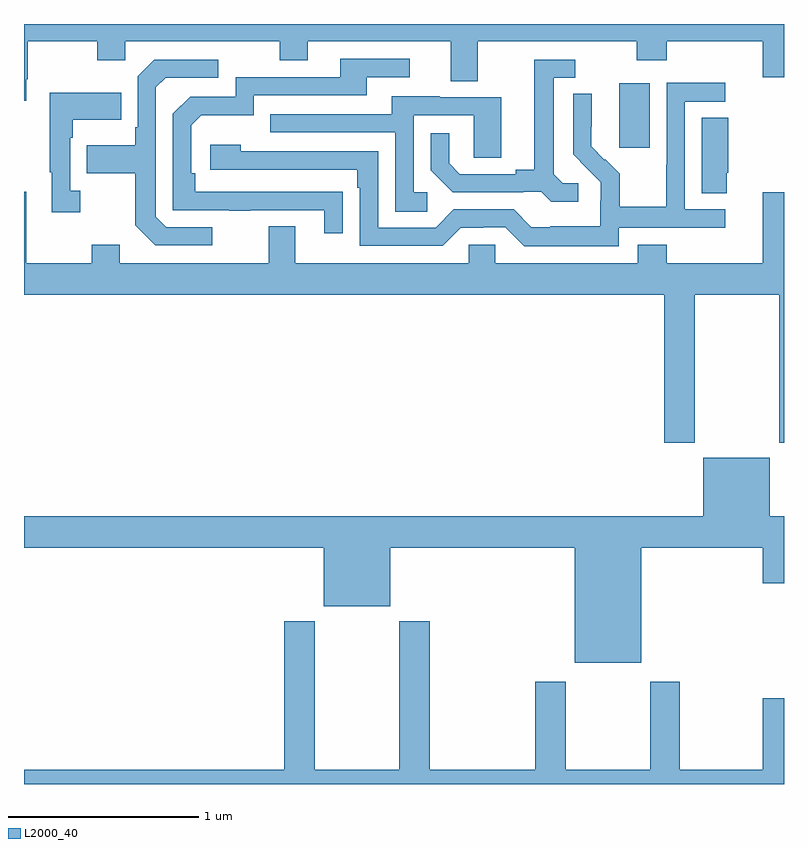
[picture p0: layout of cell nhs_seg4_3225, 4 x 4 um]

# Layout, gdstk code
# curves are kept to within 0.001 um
import gdstk
lib = gdstk.Library(unit=1e-6, precision=1e-09)
def R(c, l, rs):  # rectangles x0, y0, x1, y1
    for r in rs: c.add(gdstk.rectangle(r[:2], r[2:], *l))
def P(c, l, *ps):  # polygons
    for p in ps: c.add(gdstk.Polygon(p, *l))
L2000_40 = (2000, 40)

nhs_seg4_3225 = lib.new_cell('nhs_seg4_3225')
R(nhs_seg4_3225, L2000_40, [(284.132,808.248,284.293,808.588)])
P(nhs_seg4_3225, L2000_40, [(281.011,808.609),(281.019,808.609),(281.019,808.808),(281.386,808.808),(281.386,808.709),(281.532,808.709),(281.532,808.808),(282.346,808.808),(282.346,808.709),(282.493,808.709),(282.493,808.808),(283.247,808.808),(283.247,808.6),(283.387,808.6),(283.387,808.808),(284.224,808.808),(284.224,808.709),(284.384,808.709),(284.384,808.808),(284.888,808.808),(284.888,808.62),(285,808.62),(285,808.9),(281,808.9),(281,808.497),(281.011,808.497)],
  [(282.677,808.016),(281.9,808.017),(281.9,808.114),(281.88,808.114),(281.88,808.368),(281.933,808.421),(282.21,808.421),(282.21,808.524),(282.805,808.524),(282.805,808.62),(283.03,808.62),(283.03,808.716),(282.665,808.716),(282.665,808.62),(282.114,808.62),(282.114,808.518),(281.874,808.518),(281.784,808.428),(281.784,807.921),(282.079,807.921),(282.079,807.916),(282.191,807.916),(282.191,807.921),(282.581,807.921),(282.581,807.798),(282.677,807.798)],
  [(281.992,807.831),(281.748,807.831),(281.694,807.885),(281.694,808.566),(281.745,808.617),(282.022,808.617),(282.022,808.713),(281.685,808.713),(281.598,808.626),(281.598,808.357),(281.586,808.357),(281.586,808.261),(281.329,808.261),(281.329,808.114),(281.586,808.114),(281.586,807.841),(281.691,807.735),(281.992,807.735)],
  [(283.918,808.062),(283.836,808.062),(283.789,808.109),(283.789,808.617),(283.9,808.617),(283.9,808.713),(283.685,808.713),(283.685,808.133),(283.589,808.133),(283.589,808.11),(283.294,808.11),(283.237,808.167),(283.237,808.324),(283.14,808.324),(283.14,808.13),(283.256,808.014),(283.628,808.014),(283.628,808.017),(283.722,808.017),(283.774,807.965),(283.918,807.965)],
  [(284.13,807.828),(284.692,807.828),(284.692,807.924),(284.478,807.924),(284.478,808.491),(284.692,808.491),(284.692,808.59),(284.382,808.59),(284.382,808.16),(284.38,808.16),(284.38,807.937),(284.135,807.937),(284.135,808.111),(284.058,808.188),(284.055,808.185),(283.985,808.256),(283.985,808.36),(283.987,808.36),(283.987,808.532),(283.89,808.532),(283.89,808.214),(284.036,808.066),(284.036,807.969),(284.034,807.969),(284.034,807.835),(283.771,807.835),(283.771,807.831),(283.671,807.831),(283.578,807.924),(283.263,807.924),(283.167,807.828),(282.864,807.828),(282.864,808.23),(282.14,808.23),(282.14,808.264),(281.979,808.264),(281.979,808.134),(282.755,808.134),(282.755,808.037),(282.768,808.037),(282.768,807.732),(283.203,807.732),(283.299,807.828),(283.418,807.828),(283.418,807.831),(283.533,807.831),(283.633,807.731),(284.13,807.731)],
  [(281.296,808.022),(281.244,808.022),(281.244,808.301),(281.257,808.301),(281.257,808.397),(281.513,808.397),(281.513,808.537),(281.136,808.537),(281.136,808.121),(281.147,808.121),(281.147,807.909),(281.296,807.909)],
  [(283.123,808.014),(283.05,808.014),(283.05,808.419),(283.368,808.419),(283.368,808.195),(283.513,808.195),(283.513,808.515),(283.189,808.515),(283.189,808.519),(282.935,808.519),(282.935,808.425),(282.295,808.425),(282.295,808.329),(282.954,808.329),(282.954,807.913),(283.123,807.913)],
  [(284.698,808.117),(284.706,808.117),(284.706,808.406),(284.567,808.406),(284.567,808.009),(284.698,808.009)],
  [(284.529,807.476),(284.974,807.476),(284.974,806.697),(285,806.697),(285,808.015),(284.888,808.015),(284.888,807.64),(284.384,807.64),(284.384,807.739),(284.231,807.739),(284.231,807.64),(283.479,807.64),(283.479,807.738),(283.341,807.738),(283.341,807.64),(282.427,807.64),(282.427,807.835),(282.287,807.835),(282.287,807.64),(281.503,807.64),(281.503,807.739),(281.356,807.739),(281.356,807.64),(281.011,807.64),(281.011,808.018),(281,808.018),(281,807.476),(284.369,807.476),(284.369,806.697),(284.529,806.697)],
  [(284.248,806.144),(284.888,806.144),(284.888,805.956),(285,805.956),(285,806.308),(284.926,806.308),(284.926,806.617),(284.576,806.617),(284.576,806.308),(281,806.308),(281,806.144),(282.578,806.144),(282.578,805.835),(282.928,805.835),(282.928,806.144),(283.898,806.144),(283.898,805.538),(284.248,805.538)],
  [(285,805.351),(284.888,805.351),(284.888,804.976),(284.451,804.976),(284.451,805.438),(284.296,805.438),(284.296,804.976),(283.851,804.976),(283.851,805.438),(283.691,805.438),(283.691,804.976),(283.136,804.976),(283.136,805.756),(282.976,805.756),(282.976,804.976),(282.531,804.976),(282.531,805.756),(282.371,805.756),(282.371,804.976),(281,804.976),(281,804.9),(285,804.9)])

lib.write_gds('nhs_seg4_3225.gds')
